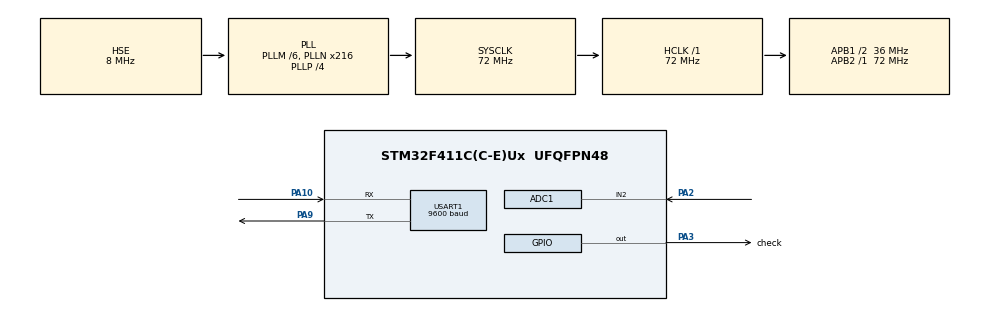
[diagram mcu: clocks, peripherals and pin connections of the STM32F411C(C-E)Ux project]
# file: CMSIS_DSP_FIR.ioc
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ADC1.Channel-0\#ChannelRegularConversion=ADC_CHANNEL_2
ADC1.ContinuousConvMode=ENABLE
ADC1.NbrOfConversionFlag=1
ADC1.Rank-0\#ChannelRegularConversion=1
ADC1.SamplingTime-0\#ChannelRegularConversion=ADC_SAMPLETIME_3CYCLES
ADC1.master=1
Mcu.Family=STM32F4
Mcu.Name=STM32F411C(C-E)Ux
Mcu.Package=UFQFPN48
NVIC.PriorityGroup=NVIC_PRIORITYGROUP_4
PA10.Mode=Asynchronous
PA10.Signal=USART1_RX
PA13.Mode=Serial_Wire
PA13.Signal=SYS_JTMS-SWDIO
PA14.Mode=Serial_Wire
PA14.Signal=SYS_JTCK-SWCLK
PA2.Signal=ADCx_IN2
PA3.GPIO_Label=check
PA3.Signal=GPIO_Output
PA9.Mode=Asynchronous
PA9.Signal=USART1_TX
PH0\ -\ OSC_IN.Mode=HSE-External-Oscillator
PH0\ -\ OSC_IN.Signal=RCC_OSC_IN
PH1\ -\ OSC_OUT.Mode=HSE-External-Oscillator
PH1\ -\ OSC_OUT.Signal=RCC_OSC_OUT
ProjectManager.HeapSize=0x200
ProjectManager.StackSize=0x400
ProjectManager.TargetToolchain=STM32CubeIDE
RCC.48MHZClocksFreq_Value=72000000
RCC.AHBFreq_Value=72000000
RCC.APB1CLKDivider=RCC_HCLK_DIV2
RCC.APB1Freq_Value=36000000
RCC.APB1TimFreq_Value=72000000
RCC.APB2Freq_Value=72000000
RCC.APB2TimFreq_Value=72000000
RCC.CortexFreq_Value=72000000
RCC.HCLKFreq_Value=72000000
RCC.HSE_VALUE=8000000
RCC.HSI_VALUE=16000000
RCC.LSE_VALUE=32768
RCC.PLLM=6
RCC.PLLN=216
RCC.PLLP=RCC_PLLP_DIV4
RCC.PLLSourceVirtual=RCC_PLLSOURCE_HSE
RCC.SYSCLKFreq_VALUE=72000000
RCC.SYSCLKSource=RCC_SYSCLKSOURCE_PLLCLK
RCC.VCOOutputFreq_Value=288000000
SH.ADCx_IN2.0=ADC1_IN2,IN2
STMicroelectronics.X-CUBE-ALGOBUILD.1.4.0.LibraryCcDSPOoLibraryJjDSPOoLibrary=true
USART1.BaudRate=9600
USART1.VirtualMode=VM_ASYNC
VP_STMicroelectronics.X-CUBE-ALGOBUILD_VS_DSPOoLibraryJjLibrary_1.4.0_1.4.0.Mode=DSPOoLibraryJjLibrary
board=custom

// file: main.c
/* USER CODE BEGIN Header */
/**
  ******************************************************************************
  * @file           : main.c
  * @brief          : Main program body
  ******************************************************************************
  * @attention
  *
  * Copyright (c) 2025 STMicroelectronics.
  * All rights reserved.
  *
  * This software is licensed under terms that can be found in the LICENSE file
  * in the root directory of this software component.
  * If no LICENSE file comes with this software, it is provided AS-IS.
  *
  ******************************************************************************
  */
/* USER CODE END Header */
#include "main.h"

/* USER CODE BEGIN Includes */
#include "arm_math.h"
#include "math_helper.h"

/* USER CODE END Includes */

/* USER CODE BEGIN PD */
#define MAX_SAMPLES 2000
#define BLOCK_SIZE 1
#define COEFF 300

/* USER CODE END PD */

ADC_HandleTypeDef hadc1;

UART_HandleTypeDef huart1;

/* USER CODE BEGIN PV */
uint8_t adc_flag = 0;
uint8_t end_flag = 1;
float adc_value = 0.0;
float vol = 0.0;

uint32_t i = 0;
uint32_t j = 0;
uint32_t cnt = 0;

float32_t firStateF32[BLOCK_SIZE + COEFF - 1];

uint32_t blockSize = BLOCK_SIZE;
uint32_t numBlocks = MAX_SAMPLES/BLOCK_SIZE;

float32_t input[MAX_SAMPLES];
float32_t output[MAX_SAMPLES];

float coeffs300[COEFF] = {
		0.000005340f,  0.000016128f,  0.000027093f,  0.000038279f,  0.000049726f,  0.000061472f,  0.000073554f,  0.000086004f,  0.000098849f,  0.000112109f,
		 0.000125798f,  0.000139922f,  0.000154479f,  0.000169457f,  0.000184833f,  0.000200575f,  0.000216638f,  0.000232966f,  0.000249490f,  0.000266129f,
		 0.000282791f,  0.000299368f,  0.000315741f,  0.000331781f,  0.000347343f,  0.000362273f,  0.000376406f,  0.000389565f,  0.000401565f,  0.000412212f,
		 0.000421307f,  0.000428641f,  0.000434004f,  0.000437181f,  0.000437955f,  0.000436110f,  0.000431432f,  0.000423709f,  0.000412735f,  0.000398313f,
		 0.000380254f,  0.000358379f,  0.000332526f,  0.000302544f,  0.000268304f,  0.000229692f,  0.000186620f,  0.000139019f,  0.000086849f,  0.000030094f,
		-0.000031232f, -0.000097085f, -0.000167389f, -0.000242035f, -0.000320880f, -0.000403747f, -0.000490422f, -0.000580653f, -0.000674153f, -0.000770598f,
		-0.000869625f, -0.000970834f, -0.001073789f, -0.001178017f, -0.001283010f, -0.001388226f, -0.001493089f, -0.001596993f, -0.001699300f, -0.001799347f,
		-0.001896444f, -0.001989877f, -0.002078912f, -0.002162799f, -0.002240771f, -0.002312050f, -0.002375851f, -0.002431382f, -0.002477852f, -0.002514472f,
		-0.002540457f, -0.002555036f, -0.002557450f, -0.002546958f, -0.002522843f, -0.002484412f, -0.002431004f, -0.002361991f, -0.002276784f, -0.002174835f,
		-0.002055643f, -0.001918755f, -0.001763771f, -0.001590347f, -0.001398197f, -0.001187099f, -0.000956893f, -0.000707487f, -0.000438859f, -0.000151057f,
		 0.000155800f,  0.000481516f,  0.000825824f,  0.001188379f,  0.001568762f,  0.001966475f,  0.002380950f,  0.002811540f,  0.003257527f,  0.003718119f,
		 0.004192455f,  0.004679605f,  0.005178574f,  0.005688304f,  0.006207674f,  0.006735511f,  0.007270586f,  0.007811621f,  0.008357295f,  0.008906244f,
		 0.009457071f,  0.010008347f,  0.010558618f,  0.011106410f,  0.011650232f,  0.012188586f,  0.012719969f,  0.013242882f,  0.013755832f,  0.014257338f,
		 0.014745943f,  0.015220211f,  0.015678738f,  0.016120157f,  0.016543143f,  0.016946415f,  0.017328750f,  0.017688977f,  0.018025989f,  0.018338747f,
		 0.018626280f,  0.018887695f,  0.019122175f,  0.019328986f,  0.019507479f,  0.019657092f,  0.019777353f,  0.019867884f,  0.019928397f,  0.019958702f,
		 0.019958702f,  0.019928397f,  0.019867884f,  0.019777353f,  0.019657092f,  0.019507479f,  0.019328986f,  0.019122175f,  0.018887695f,  0.018626280f,
		 0.018338747f,  0.018025989f,  0.017688977f,  0.017328750f,  0.016946415f,  0.016543143f,  0.016120157f,  0.015678738f,  0.015220211f,  0.014745943f,
		 0.014257338f,  0.013755832f,  0.013242882f,  0.012719969f,  0.012188586f,  0.011650232f,  0.011106410f,  0.010558618f,  0.010008347f,  0.009457071f,
		 0.008906244f,  0.008357295f,  0.007811621f,  0.007270586f,  0.006735511f,  0.006207674f,  0.005688304f,  0.005178574f,  0.004679605f,  0.004192455f,
		 0.003718119f,  0.003257527f,  0.002811540f,  0.002380950f,  0.001966475f,  0.001568762f,  0.001188379f,  0.000825824f,  0.000481516f,  0.000155800f,
		-0.000151057f, -0.000438859f, -0.000707487f, -0.000956893f, -0.001187099f, -0.001398197f, -0.001590347f, -0.001763771f, -0.001918755f, -0.002055643f,
		-0.002174835f, -0.002276784f, -0.002361991f, -0.002431004f, -0.002484412f, -0.002522843f, -0.002546958f, -0.002557450f, -0.002555036f, -0.002540457f,
		-0.002514472f, -0.002477852f, -0.002431382f, -0.002375851f, -0.002312050f, -0.002240771f, -0.002162799f, -0.002078912f, -0.001989877f, -0.001896444f,
		-0.001799347f, -0.001699300f, -0.001596993f, -0.001493089f, -0.001388226f, -0.001283010f, -0.001178017f, -0.001073789f, -0.000970834f, -0.000869625f,
		-0.000770598f, -0.000674153f, -0.000580653f, -0.000490422f, -0.000403747f, -0.000320880f, -0.000242035f, -0.000167389f, -0.000097085f, -0.000031232f,
		 0.000030094f,  0.000086849f,  0.000139019f,  0.000186620f,  0.000229692f,  0.000268304f,  0.000302544f,  0.000332526f,  0.000358379f,  0.000380254f,
		 0.000398313f,  0.000412735f,  0.000423709f,  0.000431432f,  0.000436110f,  0.000437955f,  0.000437181f,  0.000434004f,  0.000428641f,  0.000421307f,
		 0.000412212f,  0.000401565f,  0.000389565f,  0.000376406f,  0.000362273f,  0.000347343f,  0.000331781f,  0.000315741f,  0.000299368f,  0.000282791f,
		 0.000266129f,  0.000249490f,  0.000232966f,  0.000216638f,  0.000200575f,  0.000184833f,  0.000169457f,  0.000154479f,  0.000139922f,  0.000125798f,
		 0.000112109f,  0.000098849f,  0.000086004f,  0.000073554f,  0.000061472f,  0.000049726f,  0.000038279f,  0.000027093f,  0.000016128f,  0.000005340f
};
/*float coeffs200[COEFF] = {
		-0.000008008f, -0.000024304f, -0.000041165f, -0.000058819f, -0.000077497f, -0.000097426f, -0.000118827f, -0.000141908f, -0.000166865f, -0.000193872f,
		-0.000223082f, -0.000254620f, -0.000288581f, -0.000325025f, -0.000363976f, -0.000405416f, -0.000449284f, -0.000495472f, -0.000543824f, -0.000594135f,
		-0.000646145f, -0.000699544f, -0.000753966f, -0.000808992f, -0.000864151f, -0.000918916f, -0.000972709f, -0.001024903f, -0.001074823f, -0.001121746f,
		-0.001164911f, -0.001203513f, -0.001236717f, -0.001263656f, -0.001283436f, -0.001295144f, -0.001297854f, -0.001290629f, -0.001272529f, -0.001242619f,
		-0.001199974f, -0.001143687f, -0.001072872f, -0.000986677f, -0.000884287f, -0.000764929f, -0.000627886f, -0.000472494f, -0.000298157f, -0.000104349f,
		 0.000109379f,  0.000343396f,  0.000597981f,  0.000873321f,  0.001169507f,  0.001486529f,  0.001824275f,  0.002182523f,  0.002560946f,  0.002959105f,
		 0.003376450f,  0.003812320f,  0.004265944f,  0.004736441f,  0.005222822f,  0.005723995f,  0.006238764f,  0.006765836f,  0.007303825f,  0.007851257f,
		 0.008406574f,  0.008968145f,  0.009534268f,  0.010103180f,  0.010673067f,  0.011242065f,  0.011808279f,  0.012369783f,  0.012924634f,  0.013470881f,
		 0.014006575f,  0.014529778f,  0.015038571f,  0.015531070f,  0.016005427f,  0.016459849f,  0.016892601f,  0.017302015f,  0.017686504f,  0.018044567f,
		 0.018374796f,  0.018675887f,  0.018946644f,  0.019185987f,  0.019392958f,  0.019566725f,  0.019706589f,  0.019811985f,  0.019882488f,  0.019917810f,
		 0.019917810f,  0.019882488f,  0.019811985f,  0.019706589f,  0.019566725f,  0.019392958f,  0.019185987f,  0.018946644f,  0.018675887f,  0.018374796f,
		 0.018044567f,  0.017686504f,  0.017302015f,  0.016892601f,  0.016459849f,  0.016005427f,  0.015531070f,  0.015038571f,  0.014529778f,  0.014006575f,
		 0.013470881f,  0.012924634f,  0.012369783f,  0.011808279f,  0.011242065f,  0.010673067f,  0.010103180f,  0.009534268f,  0.008968145f,  0.008406574f,
		 0.007851257f,  0.007303825f,  0.006765836f,  0.006238764f,  0.005723995f,  0.005222822f,  0.004736441f,  0.004265944f,  0.003812320f,  0.003376450f,
		 0.002959105f,  0.002560946f,  0.002182523f,  0.001824275f,  0.001486529f,  0.001169507f,  0.000873321f,  0.000597981f,  0.000343396f,  0.000109379f,
		-0.000104349f, -0.000298157f, -0.000472494f, -0.000627886f, -0.000764929f, -0.000884287f, -0.000986677f, -0.001072872f, -0.001143687f, -0.001199974f,
		-0.001242619f, -0.001272529f, -0.001290629f, -0.001297854f, -0.001295144f, -0.001283436f, -0.001263656f, -0.001236717f, -0.001203513f, -0.001164911f,
		-0.001121746f, -0.001074823f, -0.001024903f, -0.000972709f, -0.000918916f, -0.000864151f, -0.000808992f, -0.000753966f, -0.000699544f, -0.000646145f,
		-0.000594135f, -0.000543824f, -0.000495472f, -0.000449284f, -0.000405416f, -0.000363976f, -0.000325025f, -0.000288581f, -0.000254620f, -0.000223082f,
		-0.000193872f, -0.000166865f, -0.000141908f, -0.000118827f, -0.000097426f, -0.000077497f, -0.000058819f, -0.000041165f, -0.000024304f, -0.000008008f
};*/
/*float coeffs100[COEFF] = {
		 0.000019244f,  0.000059528f,  0.000104499f,  0.000157056f,  0.000220228f,  0.000297130f,  0.000390927f,  0.000504785f,  0.000641829f,  0.000805094f,
		 0.000997480f,  0.001221707f,  0.001480267f,  0.001775387f,  0.002108983f,  0.002482625f,  0.002897502f,  0.003354395f,  0.003853644f,  0.004395134f,
		 0.004978278f,  0.005602001f,  0.006264744f,  0.006964458f,  0.007698616f,  0.008464220f,  0.009257828f,  0.010075569f,  0.010913182f,  0.011766044f,
		 0.012629212f,  0.013497471f,  0.014365375f,  0.015227305f,  0.016077518f,  0.016910207f,  0.017719558f,  0.018499807f,  0.019245301f,  0.019950555f,
		 0.020610309f,  0.021219583f,  0.021773732f,  0.022268489f,  0.022700017f,  0.023064946f,  0.023360412f,  0.023584084f,  0.023734192f,  0.023809545f,
		 0.023809545f,  0.023734192f,  0.023584084f,  0.023360412f,  0.023064946f,  0.022700017f,  0.022268489f,  0.021773732f,  0.021219583f,  0.020610309f,
		 0.019950555f,  0.019245301f,  0.018499807f,  0.017719558f,  0.016910207f,  0.016077518f,  0.015227305f,  0.014365375f,  0.013497471f,  0.012629212f,
		 0.011766044f,  0.010913182f,  0.010075569f,  0.009257828f,  0.008464220f,  0.007698616f,  0.006964458f,  0.006264744f,  0.005602001f,  0.004978278f,
		 0.004395134f,  0.003853644f,  0.003354395f,  0.002897502f,  0.002482625f,  0.002108983f,  0.001775387f,  0.001480267f,  0.001221707f,  0.000997480f,
		 0.000805094f,  0.000641829f,  0.000504785f,  0.000390927f,  0.000297130f,  0.000220228f,  0.000157056f,  0.000104499f,  0.000059528f,  0.000019244f
};*/
/* USER CODE END PV */

void SystemClock_Config(void);
static void MX_GPIO_Init(void);
static void MX_ADC1_Init(void);
static void MX_USART1_UART_Init(void);
/* USER CODE BEGIN PFP */
#ifdef __cplusplus
extern "C" int _write(int32_t file, uint8_t *ptr, int32_t len) {
#else
int _write(int32_t file, uint8_t *ptr, int32_t len) {
#endif
if( HAL_UART_Transmit(&huart1, ptr, len, len) == HAL_OK ) return len;
else return 0;
}
/* USER CODE END PFP */

/* USER CODE BEGIN 0 */
void HAL_IncTick(void){
	adc_flag = 1;
}
/* USER CODE END 0 */

int main(void)
{

  /* USER CODE BEGIN 1 */
	arm_fir_instance_f32 S;
	float32_t inputF32, outputF32;
  /* USER CODE END 1 */

  /* MCU Configuration--------------------------------------------------------*/

  /* Reset of all peripherals, Initializes the Flash interface and the Systick. */
  HAL_Init();

  /* Configure the system clock */
  SystemClock_Config();

  /* Initialize all configured peripherals */
  MX_GPIO_Init();
  MX_ADC1_Init();
  MX_USART1_UART_Init();
  /* USER CODE BEGIN 2 */
  arm_fir_init_f32(&S, COEFF, (float32_t *)&coeffs300[0], &firStateF32[0], blockSize);
  /* USER CODE END 2 */

  /* Infinite loop */
  /* USER CODE BEGIN WHILE */
  while (end_flag)
  {
	  if(adc_flag == 1){
	 		  HAL_GPIO_WritePin(check_GPIO_Port, check_Pin, 1);
	 		  adc_flag = 0;
	 		  HAL_ADC_Start(&hadc1);
	 		  HAL_ADC_PollForConversion(&hadc1, 10);
	 		  adc_value = HAL_ADC_GetValue(&hadc1);
	 		  vol = (3.295 * adc_value) / 4095.0;
	 		  inputF32 = vol;
	 		  //input[cnt]=vol;
	 		  arm_fir_f32(&S, &inputF32, &outputF32, blockSize);
	          //output[cnt]=outputF32;
	          //cnt++;
	 		  //if(cnt >= MAX_SAMPLES){
	 			//  end_flag = 0;
	 		  //}
	 		  HAL_GPIO_WritePin(check_GPIO_Port, check_Pin, 0);
	 	  }

    /* USER CODE END WHILE */

    /* USER CODE BEGIN 3 */
  }
  for(j=0; j < MAX_SAMPLES; j++){
	  printf("%f, %f\n\r",input[j], output[j]);
  }
  /* USER CODE END 3 */
}

void SystemClock_Config(void)
{
  RCC_OscInitTypeDef RCC_OscInitStruct = {0};
  RCC_ClkInitTypeDef RCC_ClkInitStruct = {0};

  /** Configure the main internal regulator output voltage
  */
  __HAL_RCC_PWR_CLK_ENABLE();
  __HAL_PWR_VOLTAGESCALING_CONFIG(PWR_REGULATOR_VOLTAGE_SCALE1);

  /** Initializes the RCC Oscillators according to the specified parameters
  * in the RCC_OscInitTypeDef structure.
  */
  RCC_OscInitStruct.OscillatorType = RCC_OSCILLATORTYPE_HSE;
  RCC_OscInitStruct.HSEState = RCC_HSE_ON;
  RCC_OscInitStruct.PLL.PLLState = RCC_PLL_ON;
  RCC_OscInitStruct.PLL.PLLSource = RCC_PLLSOURCE_HSE;
  RCC_OscInitStruct.PLL.PLLM = 6;
  RCC_OscInitStruct.PLL.PLLN = 216;
  RCC_OscInitStruct.PLL.PLLP = RCC_PLLP_DIV4;
  RCC_OscInitStruct.PLL.PLLQ = 4;
  if (HAL_RCC_OscConfig(&RCC_OscInitStruct) != HAL_OK)
  {
    Error_Handler();
  }

  /** Initializes the CPU, AHB and APB buses clocks
  */
  RCC_ClkInitStruct.ClockType = RCC_CLOCKTYPE_HCLK|RCC_CLOCKTYPE_SYSCLK
                              |RCC_CLOCKTYPE_PCLK1|RCC_CLOCKTYPE_PCLK2;
  RCC_ClkInitStruct.SYSCLKSource = RCC_SYSCLKSOURCE_PLLCLK;
  RCC_ClkInitStruct.AHBCLKDivider = RCC_SYSCLK_DIV1;
  RCC_ClkInitStruct.APB1CLKDivider = RCC_HCLK_DIV2;
  RCC_ClkInitStruct.APB2CLKDivider = RCC_HCLK_DIV1;

  if (HAL_RCC_ClockConfig(&RCC_ClkInitStruct, FLASH_LATENCY_2) != HAL_OK)
  {
    Error_Handler();
  }
}

static void MX_ADC1_Init(void)
{

  ADC_ChannelConfTypeDef sConfig = {0};

  /** Configure the global features of the ADC (Clock, Resolution, Data Alignment and number of conversion)
  */
  hadc1.Instance = ADC1;
  hadc1.Init.ClockPrescaler = ADC_CLOCK_SYNC_PCLK_DIV2;
  hadc1.Init.Resolution = ADC_RESOLUTION_12B;
  hadc1.Init.ScanConvMode = DISABLE;
  hadc1.Init.ContinuousConvMode = ENABLE;
  hadc1.Init.DiscontinuousConvMode = DISABLE;
  hadc1.Init.ExternalTrigConvEdge = ADC_EXTERNALTRIGCONVEDGE_NONE;
  hadc1.Init.ExternalTrigConv = ADC_SOFTWARE_START;
  hadc1.Init.DataAlign = ADC_DATAALIGN_RIGHT;
  hadc1.Init.NbrOfConversion = 1;
  hadc1.Init.DMAContinuousRequests = DISABLE;
  hadc1.Init.EOCSelection = ADC_EOC_SINGLE_CONV;
  if (HAL_ADC_Init(&hadc1) != HAL_OK)
  {
    Error_Handler();
  }

  /** Configure for the selected ADC regular channel its corresponding rank in the sequencer and its sample time.
  */
  sConfig.Channel = ADC_CHANNEL_2;
  sConfig.Rank = 1;
  sConfig.SamplingTime = ADC_SAMPLETIME_3CYCLES;
  if (HAL_ADC_ConfigChannel(&hadc1, &sConfig) != HAL_OK)
  {
    Error_Handler();
  }

}

static void MX_USART1_UART_Init(void)
{

  huart1.Instance = USART1;
  huart1.Init.BaudRate = 9600;
  huart1.Init.WordLength = UART_WORDLENGTH_8B;
  huart1.Init.StopBits = UART_STOPBITS_1;
  huart1.Init.Parity = UART_PARITY_NONE;
  huart1.Init.Mode = UART_MODE_TX_RX;
  huart1.Init.HwFlowCtl = UART_HWCONTROL_NONE;
  huart1.Init.OverSampling = UART_OVERSAMPLING_16;
  if (HAL_UART_Init(&huart1) != HAL_OK)
  {
    Error_Handler();
  }

}

static void MX_GPIO_Init(void)
{
  GPIO_InitTypeDef GPIO_InitStruct = {0};

  /* GPIO Ports Clock Enable */
  __HAL_RCC_GPIOH_CLK_ENABLE();
  __HAL_RCC_GPIOA_CLK_ENABLE();

  /*Configure GPIO pin Output Level */
  HAL_GPIO_WritePin(check_GPIO_Port, check_Pin, GPIO_PIN_RESET);

  /*Configure GPIO pin : check_Pin */
  GPIO_InitStruct.Pin = check_Pin;
  GPIO_InitStruct.Mode = GPIO_MODE_OUTPUT_PP;
  GPIO_InitStruct.Pull = GPIO_NOPULL;
  GPIO_InitStruct.Speed = GPIO_SPEED_FREQ_LOW;
  HAL_GPIO_Init(check_GPIO_Port, &GPIO_InitStruct);

}

void Error_Handler(void)
{
  __disable_irq();
  while (1)
  {
  }
}
